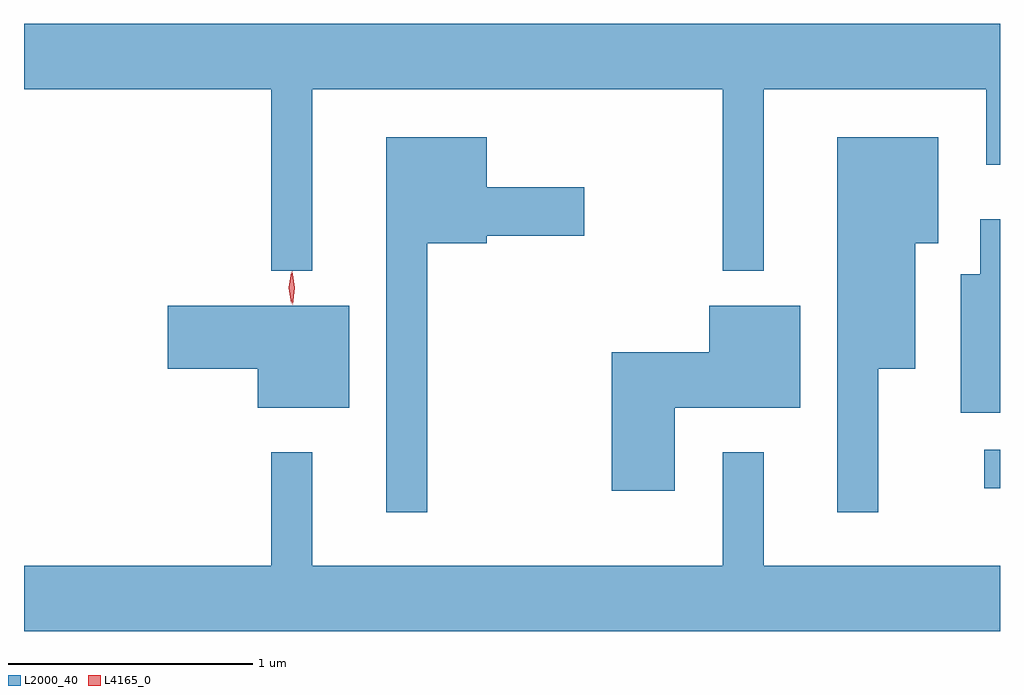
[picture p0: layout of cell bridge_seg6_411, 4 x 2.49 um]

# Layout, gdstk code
import gdstk
lib = gdstk.Library(unit=1e-6, precision=1e-09)
def R(c, l, rs):  # rectangles x0, y0, x1, y1
    for r in rs: c.add(gdstk.rectangle(r[:2], r[2:], *l))
def P(c, l, *ps):  # polygons
    for p in ps: c.add(gdstk.Polygon(p, *l))
L2000_40 = (2000, 40)
L4165_0 = (4165, 0)

bridge_seg6_411 = lib.new_cell('bridge_seg6_411')
R(bridge_seg6_411, L2000_40, [(968.633,1601.681,968.697,1601.839)])
P(bridge_seg6_411, L2000_40, [(965.879,1603.316),(967.561,1603.316),(967.561,1602.573),(967.729,1602.573),(967.729,1603.316),(968.641,1603.316),(968.641,1603.006),(968.697,1603.006),(968.697,1603.584),(964.697,1603.584),(964.697,1603.316),(965.711,1603.316),(965.711,1602.573),(965.879,1602.573)],
  [(968.199,1602.171),(968.349,1602.171),(968.349,1602.686),(968.444,1602.686),(968.444,1603.119),(968.031,1603.119),(968.031,1601.583),(968.199,1601.583)],
  [(966.349,1602.686),(966.594,1602.686),(966.594,1602.716),(966.994,1602.716),(966.994,1602.914),(966.594,1602.914),(966.594,1603.119),(966.181,1603.119),(966.181,1601.583),(966.349,1601.583)],
  [(968.697,1602.784),(968.616,1602.784),(968.616,1602.559),(968.536,1602.559),(968.536,1601.991),(968.697,1601.991)],
  [(967.364,1602.011),(967.879,1602.011),(967.879,1602.429),(967.506,1602.429),(967.506,1602.239),(967.106,1602.239),(967.106,1601.671),(967.364,1601.671)],
  [(966.029,1602.429),(965.286,1602.429),(965.286,1602.171),(965.656,1602.171),(965.656,1602.011),(966.029,1602.011)],
  [(968.697,1601.364),(967.729,1601.364),(967.729,1601.828),(967.561,1601.828),(967.561,1601.364),(965.879,1601.364),(965.879,1601.828),(965.711,1601.828),(965.711,1601.364),(964.697,1601.364),(964.697,1601.096),(968.697,1601.096)])
P(bridge_seg6_411, L4165_0, [(965.792,1602.44),(965.792,1602.44),(965.782,1602.503),(965.792,1602.566),(965.792,1602.567),(965.793,1602.566),(965.802,1602.503),(965.793,1602.44)],
  [(965.798,1602.434),(965.798,1602.434),(965.788,1602.502),(965.796,1602.57),(965.797,1602.57),(965.797,1602.57),(965.807,1602.502),(965.799,1602.434)])

lib.write_gds('bridge_seg6_411.gds')
